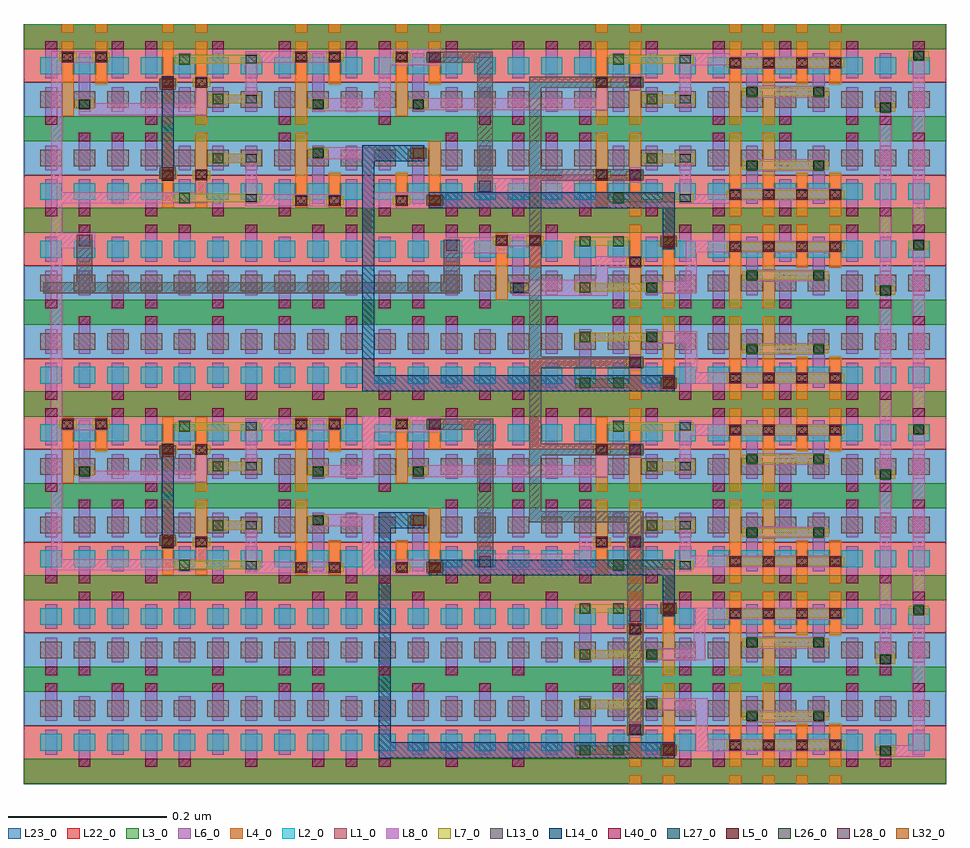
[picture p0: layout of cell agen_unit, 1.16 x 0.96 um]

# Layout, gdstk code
from math import pi, radians
import gdstk
lib = gdstk.Library(unit=1e-6, precision=2.5e-10)
def R(c, l, rs):  # rectangles x0, y0, x1, y1
    for r in rs: c.add(gdstk.rectangle(r[:2], r[2:], *l))
def A(c, l, x, y, w, h, nx, ny, dx, dy):  # array of equal rectangles
    R(c, l, [(x+i*dx, y+j*dy, x+i*dx+w, y+j*dy+h) for i in range(nx) for j in range(ny)])
def P(c, l, *ps):  # polygons
    for p in ps: c.add(gdstk.Polygon(p, *l))
L1_0 = (1, 0)
L2_0 = (2, 0)
L3_0 = (3, 0)
L4_0 = (4, 0)
L5_0 = (5, 0)
L6_0 = (6, 0)
L7_0 = (7, 0)
L8_0 = (8, 0)
L13_0 = (13, 0)
L14_0 = (14, 0)
L22_0 = (22, 0)
L23_0 = (23, 0)
L26_0 = (26, 0)
L27_0 = (27, 0)
L28_0 = (28, 0)
L32_0 = (32, 0)
L40_0 = (40, 0)

nor = lib.new_cell('nor')
A(nor, L1_0, 0.178, 0.0425, 0.027, 0.021, 4, 1, 0.042, 0)
A(nor, L2_0, 0.178, 0.085, 0.027, 0.021, 4, 1, 0.042, 0)
R(nor, L3_0, [(0.157,0.0005,0.352,0.032), (0.157,0.116,0.352,0.1475)])
R(nor, L4_0, [(0.205,0.0005,0.22,0.011), (0.247,0.0005,0.262,0.011), (0.205,0.0215,0.22,0.116), (0.247,0.0215,0.262,0.1265), (0.247,0.137,0.262,0.1475)])
R(nor, L5_0, [(0.247,0.073,0.262,0.086), (0.205,0.0975,0.22,0.1105)])
R(nor, L6_0, [(0.184,0.0215,0.199,0.0685), (0.268,0.0215,0.283,0.0685), (0.226,0.0375,0.241,0.0685), (0.31,0.0375,0.325,0.111), (0.184,0.08,0.199,0.1265), (0.226,0.08,0.241,0.111), (0.268,0.08,0.283,0.111)])
R(nor, L7_0, [(0.221,0.042,0.33,0.053), (0.2435,0.074,0.2655,0.085), (0.2015,0.0985,0.2235,0.1105), (0.263,0.1,0.33,0.111)])
R(nor, L8_0, [(0.2265,0.04,0.2405,0.055), (0.2475,0.072,0.2615,0.087), (0.2055,0.098,0.2195,0.113)])
R(nor, L22_0, [(0.157,0.075,0.352,0.1475)])
R(nor, L23_0, [(0.157,0.0005,0.352,0.075)])
R(nor, L26_0, [(0.227,0.041,0.24,0.054), (0.311,0.041,0.324,0.054), (0.269,0.099,0.282,0.112), (0.311,0.099,0.324,0.112)])
R(nor, L27_0, [(0.2265,0.0425,0.2405,0.0525), (0.2475,0.0745,0.2615,0.0845), (0.2055,0.1005,0.2195,0.1105)])
R(nor, L40_0, [(0.184,0.0215,0.199,0.032), (0.268,0.0215,0.283,0.032), (0.184,0.116,0.199,0.1265)])

nand = lib.new_cell('nand')
A(nand, L1_0, 0.1255, 0.099, 0.027, 0.021, 4, 1, 0.042, 0)
A(nand, L2_0, 0.1255, 0.1415, 0.027, 0.021, 4, 1, 0.042, 0)
R(nand, L3_0, [(0.1045,0.057,0.2995,0.0885), (0.1045,0.1725,0.2995,0.204)])
R(nand, L4_0, [(0.1525,0.057,0.1675,0.0675), (0.1945,0.057,0.2095,0.0675), (0.1525,0.078,0.1675,0.1725), (0.1945,0.078,0.2095,0.1725)])
R(nand, L5_0, [(0.1525,0.1245,0.1675,0.1375), (0.1945,0.1245,0.2095,0.1375)])
A(nand, L6_0, 0.1735, 0.094, 0.015, 0.031, 3, 1, 0.042, 0)
R(nand, L6_0, [(0.1315,0.078,0.1465,0.125), (0.1315,0.1365,0.1465,0.183), (0.1735,0.1365,0.1885,0.1675), (0.2155,0.1365,0.2305,0.183), (0.2575,0.1365,0.2725,0.1675)])
R(nand, L7_0, [(0.2105,0.1045,0.2775,0.1155), (0.149,0.1255,0.171,0.1365), (0.191,0.1255,0.213,0.1365), (0.1685,0.1545,0.276,0.1655)])
R(nand, L8_0, [(0.258,0.1025,0.272,0.1675), (0.153,0.1235,0.167,0.1385), (0.195,0.1235,0.209,0.1385)])
R(nand, L22_0, [(0.1045,0.1315,0.2995,0.204)])
R(nand, L23_0, [(0.1045,0.057,0.2995,0.1315)])
R(nand, L26_0, [(0.2165,0.1035,0.2295,0.1165), (0.1745,0.1535,0.1875,0.1665)])
R(nand, L27_0, [(0.258,0.105,0.272,0.115), (0.153,0.126,0.167,0.136), (0.195,0.126,0.209,0.136), (0.258,0.155,0.272,0.165)])
R(nand, L40_0, [(0.1315,0.078,0.1465,0.0885), (0.1315,0.1725,0.1465,0.183), (0.2155,0.1725,0.2305,0.183)])

sram_filler = lib.new_cell('sram_filler')
R(sram_filler, L1_0, [(0.022,0.042,0.049,0.063), (0.064,0.042,0.091,0.063)])
R(sram_filler, L2_0, [(0.022,0.0845,0.049,0.1055), (0.064,0.0845,0.091,0.1055)])
R(sram_filler, L3_0, [(0.001,0,0.112,0.0315), (0.001,0.1155,0.112,0.147)])
R(sram_filler, L6_0, [(0.028,0.021,0.043,0.068), (0.07,0.037,0.085,0.068), (0.028,0.0795,0.043,0.1105), (0.07,0.0795,0.085,0.126)])
R(sram_filler, L22_0, [(0.001,0.0745,0.112,0.147)])
R(sram_filler, L23_0, [(0.001,0,0.112,0.0745)])
R(sram_filler, L40_0, [(0.028,0.021,0.043,0.0315), (0.07,0.1155,0.085,0.126)])

inv = lib.new_cell('inv')
A(inv, L1_0, 0.021, 0.042, 0.027, 0.021, 3, 1, 0.042, 0)
A(inv, L2_0, 0.021, 0.0845, 0.027, 0.021, 3, 1, 0.042, 0)
R(inv, L3_0, [(0,0,0.153,0.0315), (0,0.1155,0.153,0.147)])
R(inv, L4_0, [(0.048,0.0315,0.063,0.1155), (0.09,0.0745,0.105,0.1155)])
R(inv, L5_0, [(0.048,0.0995,0.063,0.1125), (0.09,0.0995,0.105,0.1125)])
R(inv, L6_0, [(0.027,0.021,0.042,0.068), (0.069,0.037,0.084,0.1105), (0.111,0.037,0.126,0.068), (0.027,0.0795,0.042,0.126), (0.111,0.0795,0.126,0.126)])
R(inv, L7_0, [(0.064,0.041,0.089,0.052), (0.0445,0.1005,0.0665,0.1115), (0.0865,0.1005,0.1085,0.1115)])
R(inv, L8_0, [(0.0695,0.039,0.0835,0.054), (0.0485,0.0985,0.1045,0.1135)])
R(inv, L22_0, [(0,0.0745,0.153,0.147)])
R(inv, L23_0, [(0,0,0.153,0.0745)])
R(inv, L26_0, [(0.07,0.04,0.083,0.053)])
R(inv, L27_0, [(0.0695,0.0415,0.0835,0.0515), (0.0485,0.101,0.0625,0.111), (0.0905,0.101,0.1045,0.111)])
R(inv, L40_0, [(0.027,0.021,0.042,0.0315), (0.027,0.1155,0.042,0.126), (0.111,0.1155,0.126,0.126)])

demux = lib.new_cell('Demux')
A(demux, L1_0, 0.147, 0.084, 0.027, 0.021, 3, 1, 0.042, 0)
R(demux, L1_0, [(0.315,0.084,0.342,0.105), (0.357,0.084,0.384,0.105)])
R(demux, L4_0, [(0.174,0.0315,0.189,0.126), (0.216,0.0315,0.231,0.126), (0.342,0.0315,0.357,0.126), (0.384,0.0315,0.399,0.0755), (0.342,0.1365,0.357,0.147), (0.09,0.187,0.105,0.19), (0.384,0.187,0.399,0.19)])
R(demux, L8_0, [(0.279,0.0335,0.3425,0.0485), (0.1745,0.0655,0.1885,0.0855), (0.3655,0.0975,0.3755,0.105), (0.3675,0.1555,0.3725,0.1645), (0.1745,0.177,0.1885,0.197), (0.279,0.214,0.3425,0.229)])
P(demux, L8_0, [(0.2305,0.197),(0.2305,0.148),(0.0695,0.148),(0.0695,0.163),(0.2165,0.163),(0.2165,0.197)],
  [(0.0485,0.229),(0.0485,0.0515),(0.2165,0.0515),(0.2165,0.0805),(0.2305,0.0805),(0.2305,0.0375),(0.0345,0.0375),(0.0345,0.229)])
R(demux, L13_0, [(0.171,0.0685,0.1915,0.0825), (0.171,0.18,0.1915,0.194)])
R(demux, L14_0, [(0.1735,0.0655,0.1885,0.197)])
R(demux, L23_0, [(0,0.0725,0.126,0.1155)])
R(demux, L28_0, [(0.1745,0.0685,0.1885,0.0825), (0.1745,0.18,0.1885,0.194)])
R(demux, L32_0, [(0.174,0.0685,0.188,0.0825), (0.174,0.18,0.188,0.194)])
demux.add(gdstk.Reference(nand, (0.0215,0.0585)))
demux.add(gdstk.Reference(nand, (0.0215,0.204), x_reflection=True))
demux.add(gdstk.Reference(sram_filler, (0.154,0.147), rotation=pi))
demux.add(gdstk.Reference(sram_filler, (0.112,0.147), rotation=pi))
demux.add(gdstk.Reference(inv, (0,0.1155)))
demux.add(gdstk.Reference(inv, (0.294,0.1155)))
demux.add(gdstk.Reference(inv, (0.294,0.147), x_reflection=True))

invx4 = lib.new_cell('invx4')
A(invx4, L1_0, 0.027, 0.042, 0.027, 0.021, 5, 1, 0.042, 0)
A(invx4, L2_0, 0.027, 0.0845, 0.027, 0.021, 5, 1, 0.042, 0)
R(invx4, L3_0, [(0.006,0,0.243,0.0315), (0.006,0.1155,0.243,0.147)])
A(invx4, L4_0, 0.054, 0.1365, 0.015, 0.0105, 4, 1, 0.042, 0)
R(invx4, L4_0, [(0.054,0,0.069,0.0105), (0.096,0,0.111,0.0105), (0.054,0.021,0.069,0.126), (0.096,0.021,0.111,0.126), (0.138,0.0715,0.153,0.126), (0.18,0.0715,0.195,0.126)])
A(invx4, L5_0, 0.054, 0.092, 0.015, 0.013, 4, 1, 0.042, 0)
A(invx4, L6_0, 0.033, 0.021, 0.015, 0.047, 3, 1, 0.084, 0)
A(invx4, L6_0, 0.033, 0.0795, 0.015, 0.0465, 3, 1, 0.084, 0)
R(invx4, L6_0, [(0.075,0.037,0.09,0.1105), (0.159,0.037,0.174,0.1105)])
R(invx4, L7_0, [(0.07,0.0565,0.179,0.0675), (0.0505,0.093,0.1985,0.104)])
R(invx4, L8_0, [(0.0755,0.0545,0.1735,0.0695), (0.0545,0.091,0.1945,0.106)])
R(invx4, L22_0, [(0.006,0.0745,0.243,0.147)])
R(invx4, L23_0, [(0.006,0,0.243,0.0745)])
R(invx4, L26_0, [(0.076,0.0555,0.089,0.0685), (0.16,0.0555,0.173,0.0685)])
A(invx4, L27_0, 0.0545, 0.0935, 0.014, 0.01, 4, 1, 0.042, 0)
R(invx4, L27_0, [(0.0755,0.057,0.0895,0.067), (0.1595,0.057,0.1735,0.067)])
A(invx4, L40_0, 0.033, 0.021, 0.015, 0.0105, 3, 2, 0.084, 0.0945)

agen_unit = lib.new_cell('agen_unit')
A(agen_unit, L1_0, 0.7355, -0.319, 0.027, 0.021, 6, 2, 0.042, 0.0735)
A(agen_unit, L1_0, 0.6935, -0.088, 0.027, 0.021, 3, 2, 0.042, 0.0735)
A(agen_unit, L1_0, 0.8615, -0.088, 0.027, 0.021, 3, 2, 0.042, 0.0735)
A(agen_unit, L1_0, 0.1475, -0.0145, 0.027, 0.021, 3, 2, 0.042, 0.462)
A(agen_unit, L1_0, 0.7355, 0.143, 0.027, 0.021, 6, 2, 0.042, 0.0735)
A(agen_unit, L1_0, 0.6935, 0.374, 0.027, 0.021, 3, 2, 0.042, 0.0735)
A(agen_unit, L1_0, 0.8615, 0.374, 0.027, 0.021, 3, 2, 0.042, 0.0735)
R(agen_unit, L1_0, [(0.4835,-0.088,0.5105,-0.067), (0.5255,-0.088,0.5525,-0.067), (0.0215,-0.0145,0.0485,0.0065), (0.0635,-0.0145,0.0905,0.0065), (0.3155,-0.0145,0.3425,0.0065), (0.3575,-0.0145,0.3845,0.0065), (0.4415,-0.0145,0.4685,0.0065), (0.4835,-0.0145,0.5105,0.0065), (0.5675,0.2165,0.5945,0.2375), (0.6095,0.2165,0.6365,0.2375), (0.4835,0.374,0.5105,0.395), (0.5255,0.374,0.5525,0.395), (0.0215,0.4475,0.0485,0.4685), (0.0635,0.4475,0.0905,0.4685), (0.3155,0.4475,0.3425,0.4685), (0.3575,0.4475,0.3845,0.4685), (0.4415,0.4475,0.4685,0.4685), (0.4835,0.4475,0.5105,0.4685)])
A(agen_unit, L2_0, 0.7355, -0.3615, 0.027, 0.021, 8, 2, 0.042, 0.1585)
A(agen_unit, L2_0, 0.1475, -0.1305, 0.027, 0.021, 3, 2, 0.042, 0.462)
A(agen_unit, L2_0, 0.3155, -0.1305, 0.027, 0.021, 6, 2, 0.042, 0.1585)
A(agen_unit, L2_0, 0.6935, -0.1305, 0.027, 0.021, 3, 2, 0.042, 0.1585)
A(agen_unit, L2_0, 0.8615, -0.1305, 0.027, 0.021, 5, 2, 0.042, 0.1585)
A(agen_unit, L2_0, 0.0215, 0.028, 0.027, 0.021, 6, 2, 0.042, 0.462)
A(agen_unit, L2_0, 0.7355, 0.1005, 0.027, 0.021, 8, 2, 0.042, 0.1585)
A(agen_unit, L2_0, 0.5675, 0.259, 0.027, 0.021, 3, 1, 0.042, 0)
A(agen_unit, L2_0, 0.3155, 0.3315, 0.027, 0.021, 6, 2, 0.042, 0.1585)
A(agen_unit, L2_0, 0.6935, 0.3315, 0.027, 0.021, 3, 2, 0.042, 0.1585)
A(agen_unit, L2_0, 0.8615, 0.3315, 0.027, 0.021, 5, 2, 0.042, 0.1585)
R(agen_unit, L3_0, [(0.9085,-0.046,0.9305,-0.0295), (1.0785,0.5325,1.0985,0.5425)])
A(agen_unit, L4_0, 0.8885, -0.403, 0.015, 0.0105, 4, 2, 0.042, 0.945)
A(agen_unit, L4_0, 0.7625, -0.382, 0.015, 0.105, 1, 8, 0, 0.1155)
A(agen_unit, L4_0, 0.8885, -0.382, 0.015, 0.105, 1, 8, 0, 0.1155)
A(agen_unit, L4_0, 0.9305, -0.382, 0.015, 0.105, 1, 8, 0, 0.1155)
R(agen_unit, L4_0, [(0.7625,-0.403,0.7775,-0.3925), (0.8045,-0.403,0.8195,-0.3925), (0.8045,-0.382,0.8195,-0.277), (0.9725,-0.382,0.9875,-0.3275), (1.0145,-0.382,1.0295,-0.3275), (0.8045,-0.2665,0.8195,-0.172), (0.9725,-0.216,0.9875,-0.1615), (1.0145,-0.216,1.0295,-0.1615), (0.9725,-0.151,0.9875,-0.0965), (1.0145,-0.151,1.0295,-0.0965), (0.1745,-0.1405,0.1895,-0.046), (0.2165,-0.1405,0.2315,-0.046), (0.3425,-0.1405,0.3575,-0.046), (0.3845,-0.1405,0.3995,-0.0965), (0.4685,-0.1405,0.4835,-0.0965), (0.5105,-0.1405,0.5255,-0.0565), (0.7205,-0.1405,0.7355,-0.046), (0.1745,-0.0355,0.1895,0.059), (0.2165,-0.0355,0.2315,0.059), (0.3425,-0.0355,0.3575,0.059), (0.7205,-0.0355,0.7355,0.059), (0.0485,-0.025,0.0635,0.059), (0.4685,-0.025,0.4835,0.059), (0.0905,0.015,0.1055,0.059), (0.3845,0.015,0.3995,0.059), (0.9725,0.015,0.9875,0.0695), (1.0145,0.015,1.0295,0.0695), (0.5105,0.018,0.5255,0.059), (0.9725,0.08,0.9875,0.1345), (1.0145,0.08,1.0295,0.1345), (0.8045,0.0905,0.8195,0.185), (0.8045,0.1955,0.8195,0.29), (0.5945,0.206,0.6095,0.29), (0.6365,0.246,0.6515,0.29), (0.9725,0.246,0.9875,0.3005), (1.0145,0.246,1.0295,0.3005), (0.9725,0.311,0.9875,0.3655), (1.0145,0.311,1.0295,0.3655), (0.1745,0.3215,0.1895,0.416), (0.2165,0.3215,0.2315,0.416), (0.3425,0.3215,0.3575,0.416), (0.3845,0.3215,0.3995,0.3655), (0.4685,0.3215,0.4835,0.3655), (0.5105,0.3215,0.5255,0.4055), (0.7205,0.3215,0.7355,0.416), (0.1745,0.4265,0.1895,0.5315), (0.2165,0.4265,0.2315,0.5315), (0.3425,0.4265,0.3575,0.5315), (0.7205,0.4265,0.7355,0.5315), (0.0485,0.437,0.0635,0.5315), (0.4685,0.437,0.4835,0.5315), (0.0905,0.477,0.1055,0.5315), (0.3845,0.477,0.3995,0.5315), (0.5105,0.477,0.5255,0.5315), (0.9725,0.477,0.9875,0.5315), (1.0145,0.477,1.0295,0.5315), (0.0485,0.542,0.0635,0.5525), (0.0905,0.542,0.1055,0.5525), (0.1745,0.542,0.1895,0.5525), (0.2165,0.542,0.2315,0.5525), (0.3425,0.542,0.3575,0.5525), (0.3845,0.542,0.3995,0.5525), (0.4685,0.542,0.4835,0.5525), (0.5105,0.542,0.5255,0.5525), (0.7205,0.542,0.7355,0.5525), (0.7625,0.542,0.7775,0.5525)])
R(agen_unit, L6_0, [(1.0775,-0.3675,1.0925,-0.3565), (1.0775,-0.252,1.0925,-0.241), (1.1195,-0.19,1.1345,-0.179), (1.0775,-0.0195,1.0925,-0.0085), (1.1195,0.037,1.1345,0.048), (1.0775,0.212,1.0925,0.223), (1.1195,0.2695,1.1345,0.2805), (1.0775,0.4425,1.0925,0.4535), (1.1195,0.5075,1.1345,0.5185)])
R(agen_unit, L7_0, [(1.0725,-0.3675,1.0975,-0.3565), (1.0725,-0.252,1.0975,-0.241), (1.1145,-0.19,1.1395,-0.179), (1.0725,-0.0195,1.0975,-0.0085), (1.1145,0.037,1.1395,0.048), (1.0725,0.212,1.0975,0.223), (1.1145,0.2695,1.1395,0.2805), (1.0725,0.4425,1.0975,0.4535), (1.1145,0.5075,1.1395,0.5185)])
R(agen_unit, L8_0, [(0.805,-0.371,0.819,-0.351), (0.763,-0.345,0.777,-0.325), (0.9945,-0.3245,1.008,-0.312), (1.078,-0.254,1.092,0.4555), (0.9945,-0.2305,1.0075,-0.219), (0.763,-0.202,0.777,-0.182), (0.805,-0.1925,0.819,-0.1725), (0.839,-0.131,0.889,-0.116), (0.763,-0.109,0.777,-0.089), (0.9945,-0.0935,1.0075,-0.0805), (0.49,-0.0815,0.504,-0.0615), (0.9945,-0.001,1.008,0.012), (0.763,0.0075,0.777,0.0275), (0.8395,0.0345,0.889,0.0495), (0.805,0.091,0.819,0.111), (0.763,0.117,0.777,0.137), (0.9945,0.1375,1.0075,0.1505), (0.9945,0.23,1.0075,0.243), (0.805,0.2695,0.819,0.2895), (0.8395,0.3265,0.889,0.339), (0.763,0.353,0.777,0.373), (0.994,0.368,1.008,0.382), (0.49,0.3805,0.504,0.4005), (0.9945,0.4625,1.008,0.4725), (0.763,0.4695,0.777,0.4895), (0.839,0.501,0.889,0.516)])
P(agen_unit, L8_0, [(1.1345,0.5205),(1.1345,-0.3695),(1.078,-0.3695),(1.078,-0.3545),(1.1195,-0.3545),(1.1195,0.5205)],
  [(0.848,0.1665),(0.848,0.115),(0.889,0.115),(0.889,0.1),(0.833,0.1),(0.833,0.1515),(0.798,0.1515),(0.798,0.1665)],
  [(0.889,-0.1815),(0.889,-0.1965),(0.858,-0.1965),(0.858,-0.248),(0.798,-0.248),(0.798,-0.233),(0.8435,-0.233),(0.8435,-0.1815)],
  [(0.8615,-0.2955),(0.8615,-0.347),(0.889,-0.347),(0.889,-0.362),(0.8465,-0.362),(0.8465,-0.3105),(0.798,-0.3105),(0.798,-0.2955)],
  [(0.889,0.2805),(0.889,0.2655),(0.8475,0.2655),(0.8475,0.214),(0.7975,0.214),(0.7975,0.229),(0.8335,0.229),(0.8335,0.2805)],
  [(0.777,0.261),(0.777,0.246),(0.7355,0.246),(0.7355,0.211),(0.616,0.211),(0.616,0.231),(0.7205,0.231),(0.7205,0.261)],
  [(0.735,0.3705),(0.735,0.3555),(0.6935,0.3555),(0.6935,0.339),(0.574,0.339),(0.574,0.359),(0.6785,0.359),(0.6785,0.3705)],
  [(0.721,-0.0915),(0.721,-0.1065),(0.7145,-0.1065),(0.7145,-0.135),(0.6995,-0.135),(0.6995,-0.134),(0.572,-0.134),(0.572,-0.114),(0.6995,-0.114),(0.6995,-0.0915)],
  [(0.651,0.287),(0.651,0.273),(0.609,0.273),(0.609,0.2645),(0.5315,0.2645),(0.5315,0.2845),(0.595,0.2845),(0.595,0.287)],
  [(0.735,0.487),(0.735,0.4445),(0.49,0.4445),(0.49,0.4595),(0.721,0.4595),(0.721,0.487)],
  [(0.7355,0.025),(0.7355,-0.0175),(0.49,-0.0175),(0.49,-0.0025),(0.7205,-0.0025),(0.7205,0.025)],
  [(0.525,0.521),(0.525,0.501),(0.4625,0.501),(0.4625,0.443),(0.364,0.443),(0.364,0.4595),(0.447,0.4595),(0.447,0.521)],
  [(0.5255,0.0595),(0.5255,0.0395),(0.4415,0.0395),(0.4415,-0.0175),(0.364,-0.0175),(0.364,-0.0025),(0.4265,-0.0025),(0.4265,0.0595)],
  [(0.4415,0.398),(0.4415,0.341),(0.525,0.341),(0.525,0.321),(0.4265,0.321),(0.4265,0.383),(0.3635,0.383),(0.3635,0.398)],
  [(0.4415,-0.064),(0.4415,-0.121),(0.528,-0.121),(0.528,-0.141),(0.4265,-0.141),(0.4265,-0.079),(0.3635,-0.079),(0.3635,-0.064)],
  [(0.049,0.3415),(0.049,0.2905),(0.0905,0.2905),(0.0905,0.2705),(0.049,0.2705),(0.049,0.057),(0.0345,0.057),(0.0345,0.2905),(0.035,0.2905),(0.035,0.3415)])
R(agen_unit, L13_0, [(0.802,-0.368,0.822,-0.354), (0.802,-0.1895,0.822,-0.1755), (0.508,-0.138,0.528,-0.124), (0.487,-0.0785,0.507,-0.0645), (0.802,0.094,0.822,0.108), (0.802,0.2725,0.8225,0.2865), (0.508,0.324,0.528,0.338), (0.487,0.3835,0.507,0.3975)])
P(agen_unit, L13_0, [(0.78,0.4865),(0.78,0.4725),(0.6515,0.4725),(0.6515,0.37),(0.78,0.37),(0.78,0.356),(0.6515,0.356),(0.6515,0.134),(0.78,0.134),(0.78,0.12),(0.6515,0.12),(0.6515,0.0245),(0.78,0.0245),(0.78,0.0105),(0.6515,0.0105),(0.6515,-0.06),(0.78,-0.06),(0.78,-0.342),(0.76,-0.342),(0.76,-0.074),(0.6365,-0.074),(0.6365,0.214),(0.613,0.214),(0.613,0.228),(0.6365,0.228),(0.6365,0.4865)],
  [(0.591,0.518),(0.591,0.342),(0.571,0.342),(0.571,0.504),(0.508,0.504),(0.508,0.518)],
  [(0.5915,0.0565),(0.5915,-0.131),(0.571,-0.131),(0.571,0.0425),(0.508,0.0425),(0.508,0.0565)],
  [(0.087,0.2875),(0.087,0.228),(0.529,0.228),(0.529,0.2815),(0.549,0.2815),(0.549,0.214),(0.025,0.214),(0.025,0.228),(0.067,0.228),(0.067,0.2875)])
R(agen_unit, L14_0, [(0.175,0.0025,0.1885,0.024), (0.1755,0.4655,0.1885,0.486)])
P(agen_unit, L14_0, [(0.82,0.341),(0.82,0.2695),(0.805,0.2695),(0.805,0.321),(0.5105,0.321),(0.5105,0.341)],
  [(0.8195,-0.121),(0.8195,-0.1925),(0.8045,-0.1925),(0.8045,-0.141),(0.51,-0.141),(0.51,-0.121)],
  [(0.5045,-0.0615),(0.5045,-0.0815),(0.4625,-0.0815),(0.4625,-0.351),(0.8195,-0.351),(0.8195,-0.371),(0.4475,-0.371),(0.4475,-0.0615)],
  [(0.5045,0.4005),(0.5045,0.3805),(0.4415,0.3805),(0.4415,0.111),(0.8195,0.111),(0.8195,0.091),(0.4265,0.091),(0.4265,0.4005)])
A(agen_unit, L23_0, 1.0775, -0.3305, 0.084, 0.1175, 1, 4, 0, 0.231)
R(agen_unit, L23_0, [(0.0005,-0.4035,1.1615,-0.403), (0.0005,-0.3305,0.6725,-0.213), (0.5735,-0.0995,0.6725,0.018), (0.5735,0.3625,0.6725,0.48), (0.0005,0.5525,1.1615,0.553)])
P(agen_unit, L23_0, [(0.5465,0.249),(0.5465,0.1745),(0.6725,0.1745),(0.6725,0.1315),(0.0005,0.1315),(0.0005,0.249)])
R(agen_unit, L26_0, [(1.0785,-0.3685,1.0915,-0.3555), (1.0785,-0.253,1.0915,-0.24), (1.1205,-0.191,1.1335,-0.178), (1.0785,-0.0205,1.0915,-0.0075), (1.1205,0.036,1.1335,0.049), (1.0785,0.211,1.0915,0.224), (1.1205,0.2685,1.1335,0.2815), (1.0785,0.4415,1.0915,0.4545), (1.1205,0.5065,1.1335,0.5195)])
R(agen_unit, L27_0, [(1.078,-0.367,1.092,-0.357), (1.078,-0.2515,1.092,-0.2415), (1.12,-0.1895,1.134,-0.1795), (1.078,-0.019,1.092,-0.009), (1.12,0.0375,1.134,0.0475), (1.078,0.2125,1.092,0.2225), (1.12,0.27,1.134,0.28), (1.078,0.443,1.092,0.453), (1.12,0.508,1.134,0.518)])
R(agen_unit, L28_0, [(0.805,-0.368,0.819,-0.354), (0.763,-0.342,0.777,-0.328), (0.763,-0.199,0.777,-0.185), (0.805,-0.1895,0.819,-0.1755), (0.511,-0.138,0.525,-0.124), (0.574,-0.131,0.588,-0.117), (0.763,-0.106,0.777,-0.092), (0.49,-0.0785,0.504,-0.0645), (0.763,0.0105,0.777,0.0245), (0.511,0.0425,0.525,0.0565), (0.805,0.094,0.819,0.108), (0.763,0.12,0.777,0.134), (0.616,0.214,0.63,0.228), (0.532,0.2675,0.546,0.2815), (0.805,0.2725,0.819,0.2865), (0.07,0.2735,0.084,0.2875), (0.511,0.324,0.525,0.338), (0.574,0.342,0.588,0.356), (0.763,0.356,0.777,0.37), (0.49,0.3835,0.504,0.3975), (0.763,0.4725,0.777,0.4865), (0.511,0.504,0.525,0.518)])
R(agen_unit, L32_0, [(0.805,-0.368,0.819,-0.354), (0.805,-0.1895,0.819,-0.1755), (0.511,-0.138,0.525,-0.124), (0.49,-0.0785,0.504,-0.0645), (0.805,0.094,0.819,0.108), (0.8055,0.2725,0.8195,0.2865), (0.511,0.324,0.525,0.338), (0.49,0.3835,0.504,0.3975)])
agen_unit.add(gdstk.Reference(nor, (1.0245,-0.288), rotation=pi, x_reflection=True))
agen_unit.add(gdstk.Reference(nor, (1.0245,-0.2555), rotation=pi))
agen_unit.add(gdstk.Reference(nor, (1.0245,0.2065), rotation=pi))
agen_unit.add(gdstk.Reference(nor, (1.0245,0.174), rotation=pi, x_reflection=True))
agen_unit.add(gdstk.Reference(nand, (0.568,0.032), x_reflection=True))
agen_unit.add(gdstk.Reference(nand, (0.568,-0.1135)))
agen_unit.add(gdstk.Reference(nand, (0.568,0.494), x_reflection=True))
agen_unit.add(gdstk.Reference(nand, (0.568,0.3485)))
agen_unit.add(gdstk.Reference(demux, (0.0005,-0.172)))
agen_unit.add(gdstk.Reference(demux, (0.0005,0.29)))
agen_unit.add(gdstk.Reference(invx4, (0.8345,-0.0565)))
agen_unit.add(gdstk.Reference(invx4, (0.8345,0.206), x_reflection=True))
agen_unit.add(gdstk.Reference(invx4, (0.8345,-0.256), x_reflection=True))
agen_unit.add(gdstk.Reference(invx4, (0.8345,-0.025), x_reflection=True))
agen_unit.add(gdstk.Reference(invx4, (0.8345,-0.2875)))
agen_unit.add(gdstk.Reference(invx4, (0.8345,0.4055)))
agen_unit.add(gdstk.Reference(invx4, (0.8345,0.437), x_reflection=True))
agen_unit.add(gdstk.Reference(invx4, (0.8345,0.1745)))
agen_unit.add(gdstk.Reference(sram_filler, (0.1125,0.206), rotation=pi))
agen_unit.add(gdstk.Reference(sram_filler, (0.3355,0.1745)))
agen_unit.add(gdstk.Reference(sram_filler, (0.2935,0.1745)))
agen_unit.add(gdstk.Reference(sram_filler, (0.2095,0.1745)))
agen_unit.add(gdstk.Reference(sram_filler, (0.1255,0.1745)))
agen_unit.add(gdstk.Reference(sram_filler, (0.0835,0.1745)))
agen_unit.add(gdstk.Reference(sram_filler, (-0.0005,0.1745)))
agen_unit.add(gdstk.Reference(sram_filler, (0.7005,-0.025), rotation=pi))
agen_unit.add(gdstk.Reference(sram_filler, (0.6585,-0.025), rotation=pi))
agen_unit.add(gdstk.Reference(sram_filler, (0.5455,-0.0565)))
agen_unit.add(gdstk.Reference(sram_filler, (0.5875,-0.0565)))
agen_unit.add(gdstk.Reference(sram_filler, (0.7005,0.206), rotation=pi))
agen_unit.add(gdstk.Reference(sram_filler, (0.6585,0.206), rotation=pi))
agen_unit.add(gdstk.Reference(sram_filler, (0.7005,0.437), rotation=pi))
agen_unit.add(gdstk.Reference(sram_filler, (0.6585,0.437), rotation=pi))
agen_unit.add(gdstk.Reference(sram_filler, (0.5875,0.4055)))
agen_unit.add(gdstk.Reference(sram_filler, (0.5455,0.4055)))
agen_unit.add(gdstk.Reference(sram_filler, (0.4195,0.1745)))
agen_unit.add(gdstk.Reference(sram_filler, (0.5325,0.206), rotation=pi))
agen_unit.add(gdstk.Reference(sram_filler, (1.1625,-0.256), rotation=pi))
agen_unit.add(gdstk.Reference(sram_filler, (1.0495,-0.2875)))
agen_unit.add(gdstk.Reference(sram_filler, (1.1625,-0.025), rotation=pi))
agen_unit.add(gdstk.Reference(sram_filler, (1.0495,-0.0565)))
agen_unit.add(gdstk.Reference(sram_filler, (1.1625,0.206), rotation=pi))
agen_unit.add(gdstk.Reference(sram_filler, (1.0495,0.1745)))
agen_unit.add(gdstk.Reference(sram_filler, (1.1625,0.437), rotation=pi))
agen_unit.add(gdstk.Reference(sram_filler, (1.0495,0.4055)))
agen_unit.add(gdstk.Reference(sram_filler, (-0.0005,-0.256), x_reflection=True))
agen_unit.add(gdstk.Reference(sram_filler, (0.0835,-0.256), x_reflection=True))
agen_unit.add(gdstk.Reference(sram_filler, (0.1255,-0.256), x_reflection=True))
agen_unit.add(gdstk.Reference(sram_filler, (-0.0005,-0.2875)))
agen_unit.add(gdstk.Reference(sram_filler, (0.0415,-0.2875)))
agen_unit.add(gdstk.Reference(sram_filler, (0.1255,-0.2875)))
agen_unit.add(gdstk.Reference(sram_filler, (0.3355,-0.256), x_reflection=True))
agen_unit.add(gdstk.Reference(sram_filler, (0.2935,-0.256), x_reflection=True))
agen_unit.add(gdstk.Reference(sram_filler, (0.2095,-0.256), x_reflection=True))
agen_unit.add(gdstk.Reference(sram_filler, (0.3355,-0.2875)))
agen_unit.add(gdstk.Reference(sram_filler, (0.2935,-0.2875)))
agen_unit.add(gdstk.Reference(sram_filler, (0.2095,-0.2875)))
agen_unit.add(gdstk.Reference(sram_filler, (0.4195,-0.2875)))
agen_unit.add(gdstk.Reference(sram_filler, (0.5325,-0.256), rotation=pi))
agen_unit.add(gdstk.Reference(sram_filler, (0.4615,0.1745)))
agen_unit.add(gdstk.Reference(sram_filler, (0.5745,0.206), rotation=pi))
agen_unit.add(gdstk.Reference(sram_filler, (0.5035,-0.2875)))
agen_unit.add(gdstk.Reference(sram_filler, (0.6165,-0.256), rotation=pi))
agen_unit.add(gdstk.Reference(sram_filler, (0.7005,-0.256), rotation=pi))
agen_unit.add(gdstk.Reference(sram_filler, (0.5875,-0.2875)))
agen_unit.add(gdstk.Reference(sram_filler, (0.4485,0.206), rotation=pi))
agen_unit.add(gdstk.Reference(sram_filler, (0.3645,0.206), rotation=pi))
agen_unit.add(gdstk.Reference(sram_filler, (0.2805,0.206), rotation=pi))
agen_unit.add(gdstk.Reference(sram_filler, (0.1965,0.206), rotation=pi))
agen_unit.add(gdstk.Reference(inv, (0.5735,-0.025), rotation=pi))
agen_unit.add(gdstk.Reference(inv, (0.4205,-0.0565)))
agen_unit.add(gdstk.Reference(inv, (0.5465,0.1745)))
agen_unit.add(gdstk.Reference(inv, (0.5735,0.437), rotation=pi))
agen_unit.add(gdstk.Reference(inv, (0.4205,0.4055)))

lib.write_gds('agen_unit.gds')
